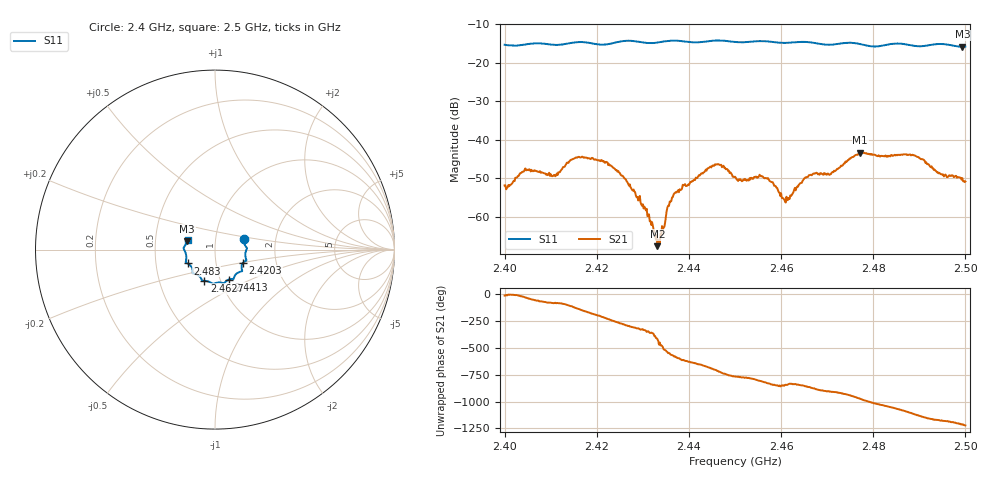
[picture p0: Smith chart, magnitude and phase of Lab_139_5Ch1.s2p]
# Hz S RI R 50
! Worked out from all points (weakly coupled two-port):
!   601 points, 2.4 GHz to 2.5 GHz, reference 50 ohm
!   highest |S21| = -43.31 dB at 2.4772 GHz (marker M1); lowest = -67.6 dB at 2.4332 GHz (marker M2)
!   lowest |S11| = -15.8 dB at 2.4993 GHz (marker M3), VSWR 1.39, Z = 36.5 + j3.54 ohm
!   |S11| at or under -10 dB: start of sweep to end of sweep
!   S12 and S22 are empty: the file has one direction only
!   S11 on the Smith chart (normalised r, x): 2.4 GHz: 1.37, +0.17; 2.4203 GHz: 1.35, -0.20; 2.4413 GHz: 1.10, -0.38; 2.4627 GHz: 0.84, -0.30; 2.483 GHz: 0.73, -0.12; 2.5 GHz: 0.73, +0.08
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2.4e9  0.1606 0.0586  0.0025 -0.000509  0 0  0 0
2.404333e9  0.1712 0.0174  0.00361 -0.00184  0 0  0 0
2.410667e9  0.1702 -0.015  0.000434 -0.00344  0 0  0 0
2.416667e9  0.1753 -0.0611  -0.00499 -0.00325  0 0  0 0
2.420333e9  0.157 -0.0731  -0.00518 0.00162  0 0  0 0
2.426167e9  0.1517 -0.118  0.000862 0.00299  0 0  0 0
2.433167e9  0.11 -0.1458  0.000217 -0.000354  0 0  0 0
2.433333e9  0.1093 -0.147  0.00013 -0.000485  0 0  0 0
2.436667e9  0.1045 -0.163  -0.0016 0.00112  0 0  0 0
2.441333e9  0.0762 -0.1669  0.000674 0.00293  0 0  0 0
2.446167e9  0.0503 -0.188  0.00476 0.000442  0 0  0 0
2.45e9  0.031 -0.1836  0.00231 -0.00237  0 0  0 0
2.455833e9  -0.0102 -0.1906  -0.000108 -0.00336  0 0  0 0
2.461e9  -0.0455 -0.1751  -0.000824 -0.00129  0 0  0 0
2.462667e9  -0.0595 -0.1739  -0.000931 -0.00186  0 0  0 0
2.466667e9  -0.0737 -0.1675  -0.00307 -0.0016  0 0  0 0
2.477167e9  -0.1236 -0.1233  -0.00197 0.00654  0 0  0 0
2.483e9  -0.1529 -0.0774  0.00491 0.00376  0 0  0 0
2.483333e9  -0.1552 -0.0764  0.0052 0.0033  0 0  0 0
2.489e9  -0.1597 -0.0429  0.00487 -0.00392  0 0  0 0
2.499333e9  -0.1544 0.0473  -0.00222 -0.00228  0 0  0 0
2.5e9  -0.1524 0.0561  -0.00227 -0.00176  0 0  0 0
